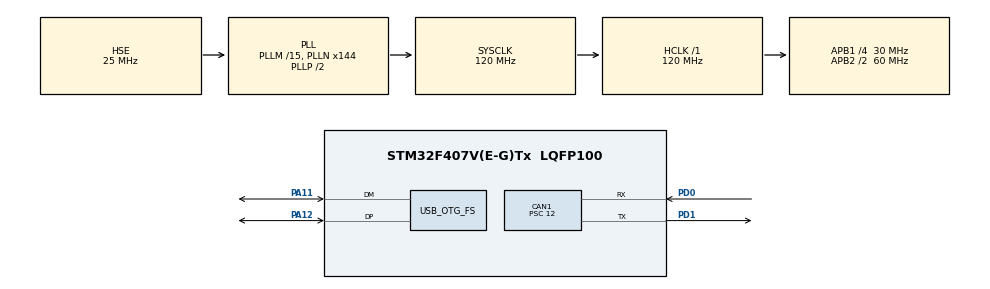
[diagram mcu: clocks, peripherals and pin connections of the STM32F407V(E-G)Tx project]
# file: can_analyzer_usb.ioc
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CAN1.BS1=CAN_BS1_11TQ
CAN1.BS2=CAN_BS2_2TQ
CAN1.CalculateBaudRate=178571
CAN1.CalculateTimeBit=5600
CAN1.CalculateTimeQuantum=400.0
CAN1.Mode=CAN_MODE_LOOPBACK
CAN1.Prescaler=12
Mcu.Family=STM32F4
Mcu.Name=STM32F407V(E-G)Tx
Mcu.Package=LQFP100
NVIC.CAN1_RX0_IRQn=true\:0\:0\:false\:false\:true\:true\:true\:true
NVIC.CAN1_RX1_IRQn=true\:0\:0\:false\:false\:true\:true\:true\:true
NVIC.OTG_FS_IRQn=true\:0\:0\:false\:false\:true\:false\:true\:true
NVIC.PriorityGroup=NVIC_PRIORITYGROUP_4
PA11.Mode=Device_Only
PA11.Signal=USB_OTG_FS_DM
PA12.Mode=Device_Only
PA12.Signal=USB_OTG_FS_DP
PD0.Mode=CAN_Activate
PD0.Signal=CAN1_RX
PD1.Mode=CAN_Activate
PD1.Signal=CAN1_TX
PH0-OSC_IN.Mode=HSE-External-Oscillator
PH0-OSC_IN.Signal=RCC_OSC_IN
PH1-OSC_OUT.Mode=HSE-External-Oscillator
PH1-OSC_OUT.Signal=RCC_OSC_OUT
ProjectManager.HeapSize=0x200
ProjectManager.StackSize=0x400
ProjectManager.TargetToolchain=STM32CubeIDE
RCC.48MHZClocksFreq_Value=48000000
RCC.AHBFreq_Value=120000000
RCC.APB1CLKDivider=RCC_HCLK_DIV4
RCC.APB1Freq_Value=30000000
RCC.APB1TimFreq_Value=60000000
RCC.APB2CLKDivider=RCC_HCLK_DIV2
RCC.APB2Freq_Value=60000000
RCC.APB2TimFreq_Value=120000000
RCC.CortexFreq_Value=120000000
RCC.HCLKFreq_Value=120000000
RCC.HSE_VALUE=25000000
RCC.HSI_VALUE=16000000
RCC.LSE_VALUE=32768
RCC.PLLM=15
RCC.PLLN=144
RCC.PLLQ=5
RCC.SYSCLKFreq_VALUE=120000000
RCC.SYSCLKSource=RCC_SYSCLKSOURCE_PLLCLK
RCC.VCOOutputFreq_Value=240000000
USB_DEVICE.CLASS_NAME_FS=CDC
USB_DEVICE.MANUFACTURER_STRING-CDC_FS=FreeCanAnalyzer
USB_DEVICE.PRODUCT_STRING_CDC_FS=FreeCanAnalyzer
USB_DEVICE.VirtualMode-CDC_FS=Cdc
USB_DEVICE.VirtualModeFS=Cdc_FS
USB_OTG_FS.VirtualMode=Device_Only
VP_USB_DEVICE_VS_USB_DEVICE_CDC_FS.Mode=CDC_FS
board=custom

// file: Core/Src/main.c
/* USER CODE BEGIN Header */
/**
  ******************************************************************************
  * @file           : main.c
  * @brief          : Main program body
  ******************************************************************************
  * @attention
  *
  * Copyright (c) 2025 STMicroelectronics.
  * All rights reserved.
  *
  * This software is licensed under terms that can be found in the LICENSE file
  * in the root directory of this software component.
  * If no LICENSE file comes with this software, it is provided AS-IS.
  *
  ******************************************************************************
  */
/* USER CODE END Header */
#include "main.h"
#include "usb_device.h"

/* USER CODE BEGIN Includes */
#include "string.h"
#include "stdlib.h"

/* USER CODE END Includes */

/* USER CODE BEGIN PTD */
CAN_FilterTypeDef filter;
CAN_RxHeaderTypeDef rx_can_msg;
CAN_TxHeaderTypeDef tx_can_msg;

/* USER CODE END PTD */

CAN_HandleTypeDef hcan1;

/* USER CODE BEGIN PV */

uint8_t can_rx_data[8];
char cdc_data_to_send [48];
/* USER CODE END PV */

void SystemClock_Config(void);
static void MX_GPIO_Init(void);
static void MX_CAN1_Init(void);

int main(void)
{

  /* MCU Configuration--------------------------------------------------------*/

  /* Reset of all peripherals, Initializes the Flash interface and the Systick. */
  HAL_Init();

  /* Configure the system clock */
  SystemClock_Config();

  /* Initialize all configured peripherals */
  MX_GPIO_Init();
  MX_CAN1_Init();
  MX_USB_DEVICE_Init();
  /* USER CODE BEGIN 2 */
  memset(can_rx_data , 0 , 8);
  //********************************can filter
  filter.FilterActivation = CAN_FILTER_ENABLE;
  filter.FilterBank = 0;
  filter.FilterFIFOAssignment = CAN_FILTER_FIFO0;
  filter.FilterIdHigh = 0;
  filter.FilterIdLow = 0;
  filter.FilterMaskIdHigh = 0;
  filter.FilterMaskIdLow = 0;
  filter.FilterMode = CAN_FILTERMODE_IDMASK;
  filter.FilterScale = CAN_FILTERSCALE_32BIT;
  HAL_CAN_ConfigFilter(&hcan1, &filter);
  HAL_CAN_ActivateNotification(&hcan1, CAN_IT_RX_FIFO0_MSG_PENDING);
  HAL_CAN_Start(&hcan1);
  //******************************************************************can tx message
  tx_can_msg.DLC = 8;
  tx_can_msg.ExtId = 0X18FECAEE;
  tx_can_msg.IDE = CAN_ID_EXT;
  uint32_t tx_mail_box = 0;
  uint8_t can_send_data[8] = {0xFF,0xFF,0xFF,0xFF,0xFF,0xFF,0xFF,0xFF};

  /* USER CODE END 2 */

  /* Infinite loop */
  /* USER CODE BEGIN WHILE */
  while (1)
  {
	  HAL_CAN_AddTxMessage(&hcan1, &tx_can_msg, can_send_data , &tx_mail_box);
	  HAL_Delay(500);

	  memset(cdc_data_to_send , 0 , 48);
	  char temp_cdc_send_data[10];
	  //add header to packet
       itoa(rx_can_msg.ExtId , temp_cdc_send_data , 16);
       strcpy(cdc_data_to_send , temp_cdc_send_data);
       strcat(cdc_data_to_send , ","); //add seprator

	  for(int i=0; i<8; i++){
		  itoa(can_rx_data[i] , temp_cdc_send_data , 16);
		  strcat(cdc_data_to_send , temp_cdc_send_data);
		  if(i==7)
		  strcat(cdc_data_to_send , "\n"); //add to the last char
		  else
			  strcat(cdc_data_to_send , ",");  //add between data

		//  sprintf(cdc_data_to_send , "%8X" , can_rx_data[i]);
	  }
	  CDC_Transmit_FS((uint8_t *)cdc_data_to_send , strlen(cdc_data_to_send));
	  HAL_Delay(500);
    /* USER CODE END WHILE */

  }
}

void SystemClock_Config(void)
{
  RCC_OscInitTypeDef RCC_OscInitStruct = {0};
  RCC_ClkInitTypeDef RCC_ClkInitStruct = {0};

  /** Configure the main internal regulator output voltage
  */
  __HAL_RCC_PWR_CLK_ENABLE();
  __HAL_PWR_VOLTAGESCALING_CONFIG(PWR_REGULATOR_VOLTAGE_SCALE1);

  /** Initializes the RCC Oscillators according to the specified parameters
  * in the RCC_OscInitTypeDef structure.
  */
  RCC_OscInitStruct.OscillatorType = RCC_OSCILLATORTYPE_HSE;
  RCC_OscInitStruct.HSEState = RCC_HSE_ON;
  RCC_OscInitStruct.PLL.PLLState = RCC_PLL_ON;
  RCC_OscInitStruct.PLL.PLLSource = RCC_PLLSOURCE_HSE;
  RCC_OscInitStruct.PLL.PLLM = 15;
  RCC_OscInitStruct.PLL.PLLN = 144;
  RCC_OscInitStruct.PLL.PLLP = RCC_PLLP_DIV2;
  RCC_OscInitStruct.PLL.PLLQ = 5;
  if (HAL_RCC_OscConfig(&RCC_OscInitStruct) != HAL_OK)
  {
    Error_Handler();
  }

  /** Initializes the CPU, AHB and APB buses clocks
  */
  RCC_ClkInitStruct.ClockType = RCC_CLOCKTYPE_HCLK|RCC_CLOCKTYPE_SYSCLK
                              |RCC_CLOCKTYPE_PCLK1|RCC_CLOCKTYPE_PCLK2;
  RCC_ClkInitStruct.SYSCLKSource = RCC_SYSCLKSOURCE_PLLCLK;
  RCC_ClkInitStruct.AHBCLKDivider = RCC_SYSCLK_DIV1;
  RCC_ClkInitStruct.APB1CLKDivider = RCC_HCLK_DIV4;
  RCC_ClkInitStruct.APB2CLKDivider = RCC_HCLK_DIV2;

  if (HAL_RCC_ClockConfig(&RCC_ClkInitStruct, FLASH_LATENCY_3) != HAL_OK)
  {
    Error_Handler();
  }
}

static void MX_CAN1_Init(void)
{

  hcan1.Instance = CAN1;
  hcan1.Init.Prescaler = 12;
  hcan1.Init.Mode = CAN_MODE_LOOPBACK;
  hcan1.Init.SyncJumpWidth = CAN_SJW_1TQ;
  hcan1.Init.TimeSeg1 = CAN_BS1_11TQ;
  hcan1.Init.TimeSeg2 = CAN_BS2_2TQ;
  hcan1.Init.TimeTriggeredMode = DISABLE;
  hcan1.Init.AutoBusOff = DISABLE;
  hcan1.Init.AutoWakeUp = DISABLE;
  hcan1.Init.AutoRetransmission = DISABLE;
  hcan1.Init.ReceiveFifoLocked = DISABLE;
  hcan1.Init.TransmitFifoPriority = DISABLE;
  if (HAL_CAN_Init(&hcan1) != HAL_OK)
  {
    Error_Handler();
  }

}

static void MX_GPIO_Init(void)
{

  /* GPIO Ports Clock Enable */
  __HAL_RCC_GPIOH_CLK_ENABLE();
  __HAL_RCC_GPIOA_CLK_ENABLE();
  __HAL_RCC_GPIOD_CLK_ENABLE();

}

/* USER CODE BEGIN 4 */

 void HAL_CAN_RxFifo0MsgPendingCallback(CAN_HandleTypeDef *hcan)
{

	 HAL_CAN_GetRxMessage(hcan, CAN_RX_FIFO0, &rx_can_msg, can_rx_data);
}

/* USER CODE END 4 */

void Error_Handler(void)
{
  __disable_irq();
  while (1)
  {
  }
}
